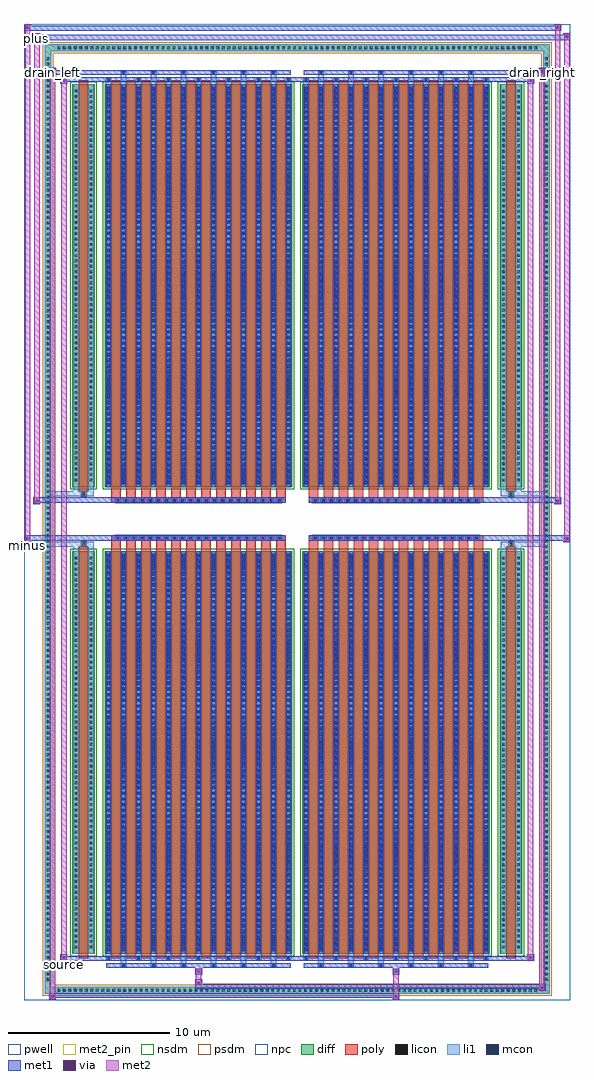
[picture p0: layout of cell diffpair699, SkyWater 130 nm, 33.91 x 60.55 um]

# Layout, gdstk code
import gdstk
lib = gdstk.Library(unit=1e-6, precision=5e-09)
def R(c, l, rs):  # rectangles x0, y0, x1, y1
    for r in rs: c.add(gdstk.rectangle(r[:2], r[2:], *l))
def A(c, l, x, y, w, h, nx, ny, dx, dy):  # array of equal rectangles
    R(c, l, [(x+i*dx, y+j*dy, x+i*dx+w, y+j*dy+h) for i in range(nx) for j in range(ny)])
def P(c, l, *ps):  # polygons
    for p in ps: c.add(gdstk.Polygon(p, *l))
pwell = (64, 44)
diff = (65, 20)
poly = (66, 20)
licon = (66, 44)
li1 = (67, 20)
mcon = (67, 44)
met1 = (68, 20)
via = (68, 44)
met2_pin = (69, 16)
met2 = (69, 20)
nsdm = (93, 44)
psdm = (94, 20)
npc = (95, 20)

diffpair699 = lib.new_cell('diffpair699')
R(diffpair699, pwell, [(-16.94,-29.84,16.94,30.71), (-14.26,-28.03,-0.01,-0.805), (0.01,-28.03,14.26,-0.805), (-14.26,0.805,-0.01,28.03), (0.01,0.805,14.26,28.03)])
A(diffpair699, diff, -14.995, -29.44, 0.41, 0.41, 88, 2, 0.34, 58.47)
A(diffpair699, diff, -15.67, -28.765, 0.41, 0.41, 1, 169, 0, 0.34)
A(diffpair699, diff, 15.26, -28.765, 0.41, 0.41, 1, 169, 0, 0.34)
R(diffpair699, diff, [(-14.995,-29.44,14.995,-29.03), (-15.67,-28.765,-15.26,28.765), (15.26,-28.765,15.67,28.765), (-13.95,-26.985,-12.57,-1.985), (-11.93,-26.985,-0.32,-1.985), (0.32,-26.985,11.93,-1.985), (12.57,-26.985,13.95,-1.985), (-13.95,1.985,-12.57,26.985), (-11.93,1.985,-0.32,26.985), (0.32,1.985,11.93,26.985), (12.57,1.985,13.95,26.985), (-14.995,29.03,14.995,29.44)])
P(diffpair699, diff, [(15.67,29.44),(-15.67,29.44),(-15.67,-29.03),(-15.26,-29.03),(-15.26,29.03),(15.26,29.03),(15.26,-29.03),(-15.26,-29.03),(-15.67,-29.03),(-15.67,-29.44),(15.67,-29.44)])
A(diffpair699, poly, -11.54, -27.235, 0.6, 25.5, 12, 2, 0.93, 28.97)
A(diffpair699, poly, 0.71, -27.235, 0.6, 25.5, 12, 2, 0.93, 28.97)
A(diffpair699, poly, -11.54, -1.735, 0.6, 0.4, 12, 2, 0.93, 3.07)
A(diffpair699, poly, 0.71, -1.735, 0.6, 0.4, 12, 2, 0.93, 3.07)
A(diffpair699, poly, -11.29, -1.335, 0.33, 0.33, 21, 2, 0.5, 2.34)
A(diffpair699, poly, 0.96, -1.335, 0.33, 0.33, 21, 2, 0.5, 2.34)
R(diffpair699, poly, [(-13.56,-27.235,-12.96,-1.735), (12.96,-27.235,13.56,-1.735), (-13.425,-1.735,-13.095,-1.405), (-13.425,-1.735,-13.095,-1.405), (13.095,-1.735,13.425,-1.405), (13.095,-1.735,13.425,-1.405), (-11.54,-1.335,-0.71,-1.005), (0.71,-1.335,11.54,-1.005), (-11.54,1.005,-0.71,1.335), (0.71,1.005,11.54,1.335), (-13.425,1.405,-13.095,1.735), (-13.425,1.405,-13.095,1.735), (13.095,1.405,13.425,1.735), (13.095,1.405,13.425,1.735), (-13.56,1.735,-12.96,27.235), (12.96,1.735,13.56,27.235)])
A(diffpair699, licon, -14.875, -29.32, 0.17, 0.17, 88, 2, 0.34, 58.47)
A(diffpair699, licon, -15.55, -28.645, 0.17, 0.17, 1, 169, 0, 0.34)
A(diffpair699, licon, 15.38, -28.645, 0.17, 0.17, 1, 169, 0, 0.34)
A(diffpair699, licon, -13.81, -26.64, 0.17, 0.17, 1, 72, 0, 0.34)
A(diffpair699, licon, -12.88, -26.64, 0.17, 0.17, 1, 72, 0, 0.34)
A(diffpair699, licon, -11.79, -26.64, 0.17, 0.17, 13, 72, 0.93, 0.34)
A(diffpair699, licon, 0.46, -26.64, 0.17, 0.17, 13, 72, 0.93, 0.34)
A(diffpair699, licon, 12.71, -26.64, 0.17, 0.17, 1, 72, 0, 0.34)
A(diffpair699, licon, 13.64, -26.64, 0.17, 0.17, 1, 72, 0, 0.34)
A(diffpair699, licon, -11.21, -1.255, 0.17, 0.17, 21, 2, 0.5, 2.34)
A(diffpair699, licon, 1.04, -1.255, 0.17, 0.17, 21, 2, 0.5, 2.34)
A(diffpair699, licon, -13.81, 2.33, 0.17, 0.17, 1, 72, 0, 0.34)
A(diffpair699, licon, -12.88, 2.33, 0.17, 0.17, 1, 72, 0, 0.34)
A(diffpair699, licon, -11.79, 2.33, 0.17, 0.17, 13, 72, 0.93, 0.34)
A(diffpair699, licon, 0.46, 2.33, 0.17, 0.17, 13, 72, 0.93, 0.34)
A(diffpair699, licon, 12.71, 2.33, 0.17, 0.17, 1, 72, 0, 0.34)
A(diffpair699, licon, 13.64, 2.33, 0.17, 0.17, 1, 72, 0, 0.34)
R(diffpair699, licon, [(-13.345,-1.655,-13.175,-1.485), (13.175,-1.655,13.345,-1.485), (-13.345,1.485,-13.175,1.655), (13.175,1.485,13.345,1.655)])
A(diffpair699, li1, -14.955, -29.4, 0.33, 0.33, 88, 2, 0.34, 58.47)
A(diffpair699, li1, -15.63, -28.725, 0.33, 0.33, 1, 169, 0, 0.34)
A(diffpair699, li1, 15.3, -28.725, 0.33, 0.33, 1, 169, 0, 0.34)
A(diffpair699, li1, -10.94, -27.79, 0.33, 0.805, 6, 2, 1.86, 54.775)
A(diffpair699, li1, -10.86, -27.79, 0.17, 0.17, 6, 2, 1.86, 55.41)
A(diffpair699, li1, 1.31, -27.79, 0.33, 0.805, 6, 2, 1.86, 54.775)
A(diffpair699, li1, 1.39, -27.79, 0.17, 0.17, 6, 2, 1.86, 55.41)
A(diffpair699, li1, -11.87, -27.36, 0.33, 0.375, 7, 2, 1.86, 54.345)
A(diffpair699, li1, -11.79, -27.36, 0.17, 0.17, 7, 2, 1.86, 54.55)
A(diffpair699, li1, 0.38, -27.36, 0.33, 0.375, 7, 2, 1.86, 54.345)
A(diffpair699, li1, 0.46, -27.36, 0.17, 0.17, 7, 2, 1.86, 54.55)
A(diffpair699, li1, -11.87, -26.985, 0.33, 25, 13, 2, 0.93, 28.97)
A(diffpair699, li1, 0.38, -26.985, 0.33, 25, 13, 2, 0.93, 28.97)
A(diffpair699, li1, -11.79, -26.81, 0.17, 0.17, 13, 69, 0.93, 0.36)
A(diffpair699, li1, -11.79, -26.81, 0.17, 24.65, 13, 2, 0.93, 28.97)
A(diffpair699, li1, 0.46, -26.81, 0.17, 0.17, 13, 69, 0.93, 0.36)
A(diffpair699, li1, 0.46, -26.81, 0.17, 24.65, 13, 2, 0.93, 28.97)
A(diffpair699, li1, -13.89, -26.72, 0.33, 0.33, 1, 72, 0, 0.34)
A(diffpair699, li1, -12.96, -26.72, 0.33, 0.33, 1, 72, 0, 0.34)
A(diffpair699, li1, -11.87, -26.72, 0.33, 0.33, 13, 72, 0.93, 0.34)
A(diffpair699, li1, 0.38, -26.72, 0.33, 0.33, 13, 72, 0.93, 0.34)
A(diffpair699, li1, 12.63, -26.72, 0.33, 0.33, 1, 72, 0, 0.34)
A(diffpair699, li1, 13.56, -26.72, 0.33, 0.33, 1, 72, 0, 0.34)
A(diffpair699, li1, -11.29, -1.335, 0.33, 0.33, 21, 2, 0.5, 2.34)
A(diffpair699, li1, 0.96, -1.335, 0.33, 0.33, 21, 2, 0.5, 2.34)
A(diffpair699, li1, -11.79, 2.16, 0.17, 0.17, 13, 69, 0.93, 0.36)
A(diffpair699, li1, 0.46, 2.16, 0.17, 0.17, 13, 69, 0.93, 0.36)
A(diffpair699, li1, -13.89, 2.25, 0.33, 0.33, 1, 72, 0, 0.34)
A(diffpair699, li1, -12.96, 2.25, 0.33, 0.33, 1, 72, 0, 0.34)
A(diffpair699, li1, -11.87, 2.25, 0.33, 0.33, 13, 72, 0.93, 0.34)
A(diffpair699, li1, 0.38, 2.25, 0.33, 0.33, 13, 72, 0.93, 0.34)
A(diffpair699, li1, 12.63, 2.25, 0.33, 0.33, 1, 72, 0, 0.34)
A(diffpair699, li1, 13.56, 2.25, 0.33, 0.33, 1, 72, 0, 0.34)
R(diffpair699, li1, [(-15.67,-29.44,-15.26,-29.03), (-15.67,-29.44,-15.26,-29.03), (-15.26,-29.44,15.26,-29.03), (15.26,-29.44,15.67,-29.03), (15.26,-29.44,15.67,-29.03), (-15.67,-29.03,-15.26,29.03), (15.26,-29.03,15.67,29.03), (-13.89,-26.985,-13.56,-1.985), (-12.96,-26.985,-12.63,-1.985), (12.63,-26.985,12.96,-1.985), (13.56,-26.985,13.89,-1.985), (-13.89,-1.985,-13.56,-1.405), (-12.96,-1.985,-12.63,-1.405), (12.63,-1.985,12.96,-1.405), (13.56,-1.985,13.89,-1.405), (-15.67,-1.735,-13.425,-1.405), (-13.89,-1.735,-13.425,-1.405), (-13.425,-1.735,-13.095,-1.405), (-13.095,-1.735,-12.63,-1.405), (12.63,-1.735,13.095,-1.405), (13.095,-1.735,13.425,-1.405), (13.095,-1.735,15.67,-1.405), (13.425,-1.735,13.89,-1.405), (-15.67,1.405,-13.425,1.735), (-13.89,1.405,-13.425,1.735), (-13.89,1.405,-13.56,1.985), (-13.425,1.405,-13.095,1.735), (-13.095,1.405,-12.63,1.735), (-12.96,1.405,-12.63,1.985), (12.63,1.405,13.095,1.735), (12.63,1.405,12.96,1.985), (13.095,1.405,13.425,1.735), (13.095,1.405,15.67,1.735), (13.425,1.405,13.89,1.735), (13.56,1.405,13.89,1.985), (-13.89,1.985,-13.56,26.985), (-12.96,1.985,-12.63,26.985), (12.63,1.985,12.96,26.985), (13.56,1.985,13.89,26.985), (-15.67,29.03,-15.26,29.44), (-15.67,29.03,-15.26,29.44), (-15.26,29.03,15.26,29.44), (15.26,29.03,15.67,29.44), (15.26,29.03,15.67,29.44)])
A(diffpair699, mcon, -10.86, -27.79, 0.17, 0.17, 6, 2, 1.86, 55.41)
A(diffpair699, mcon, 1.39, -27.79, 0.17, 0.17, 6, 2, 1.86, 55.41)
A(diffpair699, mcon, -11.79, -27.36, 0.17, 0.17, 7, 2, 1.86, 54.55)
A(diffpair699, mcon, 0.46, -27.36, 0.17, 0.17, 7, 2, 1.86, 54.55)
A(diffpair699, mcon, -11.79, -26.81, 0.17, 0.17, 13, 69, 0.93, 0.36)
A(diffpair699, mcon, 0.46, -26.81, 0.17, 0.17, 13, 69, 0.93, 0.36)
A(diffpair699, mcon, -11.21, -1.255, 0.17, 0.17, 21, 2, 0.5, 2.34)
A(diffpair699, mcon, 1.04, -1.255, 0.17, 0.17, 21, 2, 0.5, 2.34)
A(diffpair699, mcon, -11.79, 2.16, 0.17, 0.17, 13, 69, 0.93, 0.36)
A(diffpair699, mcon, 0.46, 2.16, 0.17, 0.17, 13, 69, 0.93, 0.36)
A(diffpair699, met1, -10.92, -27.85, 0.29, 0.29, 6, 2, 1.86, 55.41)
A(diffpair699, met1, 1.33, -27.85, 0.29, 0.29, 6, 2, 1.86, 55.41)
A(diffpair699, met1, -11.85, -27.42, 0.29, 0.29, 7, 2, 1.86, 54.55)
A(diffpair699, met1, 0.4, -27.42, 0.29, 0.29, 7, 2, 1.86, 54.55)
A(diffpair699, met1, -11.85, -26.985, 0.29, 25, 13, 2, 0.93, 28.97)
A(diffpair699, met1, 0.4, -26.985, 0.29, 25, 13, 2, 0.93, 28.97)
A(diffpair699, met1, -11.85, -26.87, 0.29, 0.29, 13, 69, 0.93, 0.36)
A(diffpair699, met1, 0.4, -26.87, 0.29, 0.29, 13, 69, 0.93, 0.36)
A(diffpair699, met1, -11.27, -1.315, 0.29, 0.29, 21, 2, 0.5, 2.34)
A(diffpair699, met1, 0.98, -1.315, 0.29, 0.29, 21, 2, 0.5, 2.34)
A(diffpair699, met1, -11.85, 2.1, 0.29, 0.29, 13, 69, 0.93, 0.36)
A(diffpair699, met1, 0.4, 2.1, 0.29, 0.29, 13, 69, 0.93, 0.36)
R(diffpair699, met1, [(-15.4,-29.84,-14.97,-29.41), (5.91,-29.84,6.34,-29.41), (-15.4,-29.7,6.34,-29.41), (14.97,-29.27,15.4,-28.84), (-6.34,-29.13,15.4,-28.84), (-6.34,-28.99,-5.91,-28.56), (-6.34,-28.28,-5.91,-27.85), (5.91,-28.28,6.34,-27.85), (-11.85,-27.85,-0.4,-27.56), (0.4,-27.85,11.85,-27.56), (-14.69,-27.42,-14.26,-26.99), (-14.69,-27.42,-11.85,-27.13), (-11.85,-27.42,-0.4,-27.13), (-0.4,-27.42,0.4,-27.13), (0.4,-27.42,11.85,-27.13), (11.85,-27.42,14.69,-27.13), (14.26,-27.42,14.69,-26.99), (-16.94,-1.435,-16.51,-1.005), (16.51,-1.435,16.94,-1.005), (-16.94,-1.335,-0.71,-1.005), (-11.54,-1.335,-0.71,-1.005), (0.71,-1.335,11.54,-1.005), (0.71,-1.335,16.94,-1.005), (-16.37,0.905,-15.94,1.335), (15.94,0.905,16.37,1.335), (-16.37,1.005,-11.54,1.335), (-11.54,1.005,-0.71,1.335), (0.71,1.005,11.54,1.335), (11.54,1.005,16.37,1.335), (-14.69,26.99,-14.26,27.42), (14.26,26.99,14.69,27.42), (-14.69,27.13,-11.85,27.42), (-11.85,27.13,-0.4,27.42), (-0.4,27.13,0.4,27.42), (0.4,27.13,11.85,27.42), (11.85,27.13,14.69,27.42), (-15.4,27.56,-14.97,27.99), (-15.4,27.56,-11.85,27.85), (-11.85,27.56,-0.4,27.85), (0.4,27.56,11.85,27.85), (11.85,27.56,15.4,27.85), (14.97,27.56,15.4,27.99), (-16.37,29.71,-15.94,30.14), (-16.37,29.71,-14.26,30.04), (-14.26,29.71,14.26,30.04), (14.26,29.71,16.94,30.04), (16.51,29.71,16.94,30.14), (-16.94,30.28,-16.51,30.71), (-16.94,30.28,-14.26,30.61), (-14.26,30.28,14.26,30.61), (14.26,30.28,16.37,30.61), (15.94,30.28,16.37,30.71)])
R(diffpair699, via, [(-15.26,-29.7,-15.11,-29.55), (6.05,-29.7,6.2,-29.55), (15.11,-29.13,15.26,-28.98), (-6.2,-28.85,-6.05,-28.7), (-6.2,-28.14,-6.05,-27.99), (6.05,-28.14,6.2,-27.99), (-14.55,-27.28,-14.4,-27.13), (14.4,-27.28,14.55,-27.13), (-16.8,-1.295,-16.65,-1.145), (16.65,-1.295,16.8,-1.145), (-16.23,1.045,-16.08,1.195), (16.08,1.045,16.23,1.195), (-14.55,27.13,-14.4,27.28), (14.4,27.13,14.55,27.28), (-15.26,27.7,-15.11,27.85), (15.11,27.7,15.26,27.85), (-16.23,29.85,-16.08,30), (16.65,29.85,16.8,30), (-16.8,30.42,-16.65,30.57), (16.08,30.42,16.23,30.57)])
R(diffpair699, met2_pin, [(-14.725,-27.87,-14.225,-27.37), (-16.975,-1.885,-16.475,-1.385), (-15.435,27.44,-14.935,27.94), (14.935,27.44,15.435,27.94), (-16.405,29.59,-15.905,30.09)])
R(diffpair699, met2, [(-15.35,-29.79,-15.02,-29.46), (-15.35,-29.79,-15.02,27.94), (5.96,-29.79,6.29,-29.46), (5.96,-29.46,6.29,-28.23), (15.02,-29.22,15.35,-28.89), (15.02,-29.22,15.35,27.94), (-6.29,-28.94,-5.96,-28.61), (-6.29,-28.61,-5.96,-28.23), (-6.29,-28.23,-5.96,-27.9), (5.96,-28.23,6.29,-27.9), (-14.64,-27.37,-14.31,-27.04), (-14.64,-27.37,-14.31,27.37), (14.31,-27.37,14.64,-27.04), (14.31,-27.37,14.64,27.37), (-16.89,-1.385,-16.56,-1.055), (-16.89,-1.385,-16.56,30.66), (16.56,-1.385,16.89,-1.055), (16.56,-1.385,16.89,30.09), (-16.32,0.955,-15.99,1.285), (-16.32,0.955,-15.99,30.09), (15.99,0.955,16.32,1.285), (15.99,0.955,16.32,30.66), (-14.64,27.04,-14.31,27.37), (14.31,27.04,14.64,27.37), (-15.35,27.61,-15.02,27.94), (15.02,27.61,15.35,27.94), (-16.32,29.76,-15.99,30.09), (16.56,29.76,16.89,30.09), (-16.89,30.33,-16.56,30.66), (15.99,30.33,16.32,30.66)])
P(diffpair699, met2, [(16.89,-1.385),(16.89,-1.385),(16.89,-1.055),(16.89,-1.055)],
  [(16.89,29.76),(16.89,29.76),(16.89,30.09),(16.89,30.09)],
  [(-16.56,-1.385),(-16.56,-1.385),(-16.56,-1.055),(-16.56,-1.055)],
  [(-16.56,30.33),(-16.56,30.33),(-16.56,30.66),(-16.56,30.66)],
  [(16.32,0.955),(16.32,0.955),(16.32,1.285),(16.32,1.285)],
  [(16.32,30.33),(16.32,30.33),(16.32,30.66),(16.32,30.66)],
  [(-15.99,0.955),(-15.99,0.955),(-15.99,1.285),(-15.99,1.285)],
  [(-15.99,29.76),(-15.99,29.76),(-15.99,30.09),(-15.99,30.09)],
  [(-15.02,-29.79),(-15.02,-29.79),(-15.02,-29.46),(-15.02,-29.46)],
  [(-15.02,27.61),(-15.02,27.61),(-15.02,27.94),(-15.02,27.94)],
  [(15.35,-29.22),(15.35,-29.22),(15.35,-28.89),(15.35,-28.89)],
  [(15.35,27.61),(15.35,27.61),(15.35,27.94),(15.35,27.94)],
  [(-14.31,-27.37),(-14.31,-27.37),(-14.31,-27.04),(-14.31,-27.04)],
  [(-14.31,27.04),(-14.31,27.04),(-14.31,27.37),(-14.31,27.37)],
  [(14.64,-27.37),(14.64,-27.37),(14.64,-27.04),(14.64,-27.04)],
  [(14.64,27.04),(14.64,27.04),(14.64,27.37),(14.64,27.37)])
R(diffpair699, nsdm, [(-14.08,-27.115,-12.44,-1.855), (-12.06,-27.115,-0.19,-1.855), (0.19,-27.115,12.06,-1.855), (12.44,-27.115,14.08,-1.855), (-14.08,1.855,-12.44,27.115), (-12.06,1.855,-0.19,27.115), (0.19,1.855,12.06,27.115), (12.44,1.855,14.08,27.115)])
P(diffpair699, psdm, [(15.8,29.57),(-15.8,29.57),(-15.8,-28.9),(-15.13,-28.9),(-15.13,28.9),(15.13,28.9),(15.13,-28.9),(-15.13,-28.9),(-15.8,-28.9),(-15.8,-29.57),(15.8,-29.57)])
A(diffpair699, npc, -11.31, -1.355, 0.37, 0.37, 21, 2, 0.5, 2.34)
A(diffpair699, npc, 0.94, -1.355, 0.37, 0.37, 21, 2, 0.5, 2.34)
R(diffpair699, npc, [(-13.445,-1.755,-13.075,-1.385), (13.075,-1.755,13.445,-1.385), (-11.31,-1.355,-10.44,-0.985), (-11.31,-1.355,-10.44,-0.985), (-10.81,-1.355,-9.94,-0.985), (-10.81,-1.355,-9.94,-0.985), (-10.31,-1.355,-9.44,-0.985), (-10.31,-1.355,-9.44,-0.985), (-9.81,-1.355,-8.94,-0.985), (-9.81,-1.355,-8.94,-0.985), (-9.31,-1.355,-8.44,-0.985), (-9.31,-1.355,-8.44,-0.985), (-8.81,-1.355,-7.94,-0.985), (-8.81,-1.355,-7.94,-0.985), (-8.31,-1.355,-7.44,-0.985), (-8.31,-1.355,-7.44,-0.985), (-7.81,-1.355,-6.94,-0.985), (-7.81,-1.355,-6.94,-0.985), (-7.31,-1.355,-6.44,-0.985), (-7.31,-1.355,-6.44,-0.985), (-6.81,-1.355,-5.94,-0.985), (-6.81,-1.355,-5.94,-0.985), (-6.31,-1.355,-5.44,-0.985), (-6.31,-1.355,-5.44,-0.985), (-5.81,-1.355,-4.94,-0.985), (-5.81,-1.355,-4.94,-0.985), (-5.31,-1.355,-4.44,-0.985), (-5.31,-1.355,-4.44,-0.985), (-4.81,-1.355,-3.94,-0.985), (-4.81,-1.355,-3.94,-0.985), (-4.31,-1.355,-3.44,-0.985), (-4.31,-1.355,-3.44,-0.985), (-3.81,-1.355,-2.94,-0.985), (-3.81,-1.355,-2.94,-0.985), (-3.31,-1.355,-2.44,-0.985), (-3.31,-1.355,-2.44,-0.985), (-2.81,-1.355,-1.94,-0.985), (-2.81,-1.355,-1.94,-0.985), (-2.31,-1.355,-1.44,-0.985), (-2.31,-1.355,-1.44,-0.985), (-1.81,-1.355,-0.94,-0.985), (-1.81,-1.355,-0.94,-0.985), (0.94,-1.355,1.81,-0.985), (0.94,-1.355,1.81,-0.985), (1.44,-1.355,2.31,-0.985), (1.44,-1.355,2.31,-0.985), (1.94,-1.355,2.81,-0.985), (1.94,-1.355,2.81,-0.985), (2.44,-1.355,3.31,-0.985), (2.44,-1.355,3.31,-0.985), (2.94,-1.355,3.81,-0.985), (2.94,-1.355,3.81,-0.985), (3.44,-1.355,4.31,-0.985), (3.44,-1.355,4.31,-0.985), (3.94,-1.355,4.81,-0.985), (3.94,-1.355,4.81,-0.985), (4.44,-1.355,5.31,-0.985), (4.44,-1.355,5.31,-0.985), (4.94,-1.355,5.81,-0.985), (4.94,-1.355,5.81,-0.985), (5.44,-1.355,6.31,-0.985), (5.44,-1.355,6.31,-0.985), (5.94,-1.355,6.81,-0.985), (5.94,-1.355,6.81,-0.985), (6.44,-1.355,7.31,-0.985), (6.44,-1.355,7.31,-0.985), (6.94,-1.355,7.81,-0.985), (6.94,-1.355,7.81,-0.985), (7.44,-1.355,8.31,-0.985), (7.44,-1.355,8.31,-0.985), (7.94,-1.355,8.81,-0.985), (7.94,-1.355,8.81,-0.985), (8.44,-1.355,9.31,-0.985), (8.44,-1.355,9.31,-0.985), (8.94,-1.355,9.81,-0.985), (8.94,-1.355,9.81,-0.985), (9.44,-1.355,10.31,-0.985), (9.44,-1.355,10.31,-0.985), (9.94,-1.355,10.81,-0.985), (9.94,-1.355,10.81,-0.985), (10.44,-1.355,11.31,-0.985), (10.44,-1.355,11.31,-0.985), (-11.31,0.985,-10.44,1.355), (-11.31,0.985,-10.44,1.355), (-10.81,0.985,-9.94,1.355), (-10.81,0.985,-9.94,1.355), (-10.31,0.985,-9.44,1.355), (-10.31,0.985,-9.44,1.355), (-9.81,0.985,-8.94,1.355), (-9.81,0.985,-8.94,1.355), (-9.31,0.985,-8.44,1.355), (-9.31,0.985,-8.44,1.355), (-8.81,0.985,-7.94,1.355), (-8.81,0.985,-7.94,1.355), (-8.31,0.985,-7.44,1.355), (-8.31,0.985,-7.44,1.355), (-7.81,0.985,-6.94,1.355), (-7.81,0.985,-6.94,1.355), (-7.31,0.985,-6.44,1.355), (-7.31,0.985,-6.44,1.355), (-6.81,0.985,-5.94,1.355), (-6.81,0.985,-5.94,1.355), (-6.31,0.985,-5.44,1.355), (-6.31,0.985,-5.44,1.355), (-5.81,0.985,-4.94,1.355), (-5.81,0.985,-4.94,1.355), (-5.31,0.985,-4.44,1.355), (-5.31,0.985,-4.44,1.355), (-4.81,0.985,-3.94,1.355), (-4.81,0.985,-3.94,1.355), (-4.31,0.985,-3.44,1.355), (-4.31,0.985,-3.44,1.355), (-3.81,0.985,-2.94,1.355), (-3.81,0.985,-2.94,1.355), (-3.31,0.985,-2.44,1.355), (-3.31,0.985,-2.44,1.355), (-2.81,0.985,-1.94,1.355), (-2.81,0.985,-1.94,1.355), (-2.31,0.985,-1.44,1.355), (-2.31,0.985,-1.44,1.355), (-1.81,0.985,-0.94,1.355), (-1.81,0.985,-0.94,1.355), (0.94,0.985,1.81,1.355), (0.94,0.985,1.81,1.355), (1.44,0.985,2.31,1.355), (1.44,0.985,2.31,1.355), (1.94,0.985,2.81,1.355), (1.94,0.985,2.81,1.355), (2.44,0.985,3.31,1.355), (2.44,0.985,3.31,1.355), (2.94,0.985,3.81,1.355), (2.94,0.985,3.81,1.355), (3.44,0.985,4.31,1.355), (3.44,0.985,4.31,1.355), (3.94,0.985,4.81,1.355), (3.94,0.985,4.81,1.355), (4.44,0.985,5.31,1.355), (4.44,0.985,5.31,1.355), (4.94,0.985,5.81,1.355), (4.94,0.985,5.81,1.355), (5.44,0.985,6.31,1.355), (5.44,0.985,6.31,1.355), (5.94,0.985,6.81,1.355), (5.94,0.985,6.81,1.355), (6.44,0.985,7.31,1.355), (6.44,0.985,7.31,1.355), (6.94,0.985,7.81,1.355), (6.94,0.985,7.81,1.355), (7.44,0.985,8.31,1.355), (7.44,0.985,8.31,1.355), (7.94,0.985,8.81,1.355), (7.94,0.985,8.81,1.355), (8.44,0.985,9.31,1.355), (8.44,0.985,9.31,1.355), (8.94,0.985,9.81,1.355), (8.94,0.985,9.81,1.355), (9.44,0.985,10.31,1.355), (9.44,0.985,10.31,1.355), (9.94,0.985,10.81,1.355), (9.94,0.985,10.81,1.355), (10.44,0.985,11.31,1.355), (10.44,0.985,11.31,1.355), (-13.445,1.385,-13.075,1.755), (13.075,1.385,13.445,1.755)])
diffpair699.add(gdstk.Label('minus', (-16.725,-1.635), layer=69, texttype=5))
diffpair699.add(gdstk.Label('drain_right', (15.185,27.69), layer=69, texttype=5))
diffpair699.add(gdstk.Label('drain_left', (-15.185,27.69), layer=69, texttype=5))
diffpair699.add(gdstk.Label('source', (-14.475,-27.62), layer=69, texttype=5))
diffpair699.add(gdstk.Label('plus', (-16.155,29.84), layer=69, texttype=5))

lib.write_gds('diffpair699.gds')
